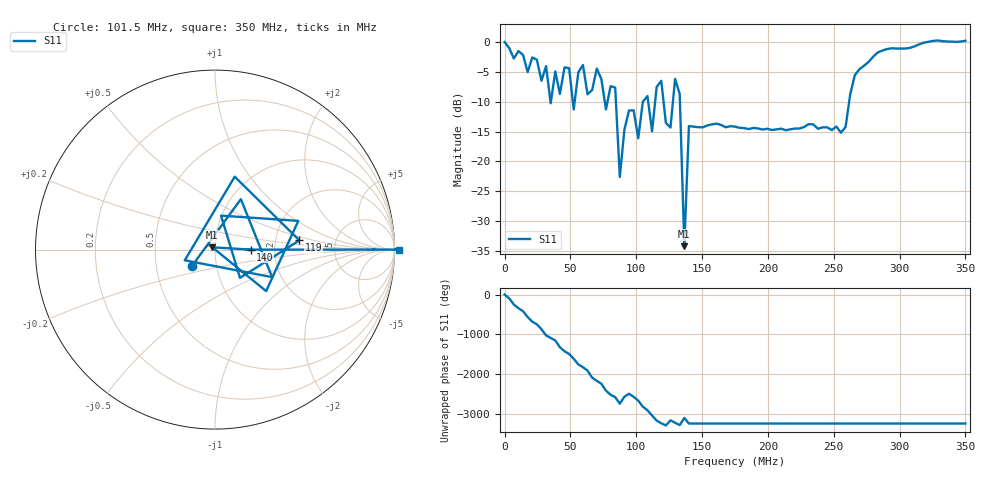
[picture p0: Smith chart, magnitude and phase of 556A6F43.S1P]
!File created by NanoVNA
# Hz S RI R 50
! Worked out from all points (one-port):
!   101 points, 50 kHz to 350 MHz, reference 50 ohm
!   lowest |S11| = -34.2 dB at 136.5 MHz (marker M1), VSWR 1.04, Z = 48.5 + j1.23 ohm
!   |S11| at or under -10 dB: 84.59 MHz to 105.1 MHz (20.47 MHz wide, 21.6 % of centre); 120.8 MHz to 127.9 MHz (7.118 MHz wide, 5.73 % of centre); 133.2 MHz to 261.7 MHz (128.5 MHz wide, 65.1 % of centre) (the widest 3 of 7)
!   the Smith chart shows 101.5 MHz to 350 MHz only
!   S11 on the Smith chart (normalised r, x): 101.5 MHz: 0.76, -0.14; 119 MHz: 2.74, +0.36; 140 MHz: 1.49, +0.00; 350 MHz: -86, -0
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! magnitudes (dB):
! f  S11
! 50 kHz  0.0
! 31.55 MHz  -4.0
! 35.05 MHz  -10.3
! 45.54 MHz  -4.2
! 52.54 MHz  -11.3
! 59.54 MHz  -3.9
! 63.04 MHz  -8.8
! 70.04 MHz  -4.5
! 77.04 MHz  -11.3
! 84.04 MHz  -7.6
! 87.54 MHz  -22.6
! 94.54 MHz  -11.5
! 101.5 MHz  -16.1
! 108.5 MHz  -9.0
! 112 MHz  -15.0
! 119 MHz  -6.5
! 126 MHz  -14.3
! 129.5 MHz  -6.2
! 133 MHz  -8.7
! 136.5 MHz  -34.2
! 140 MHz  -14.1
! 175 MHz  -14.2
! 220.5 MHz  -14.5
! 255.5 MHz  -15.2
! 262.5 MHz  -8.8
! 283.5 MHz  -1.7
! 308 MHz  -1.0
! 350 MHz  0.2
